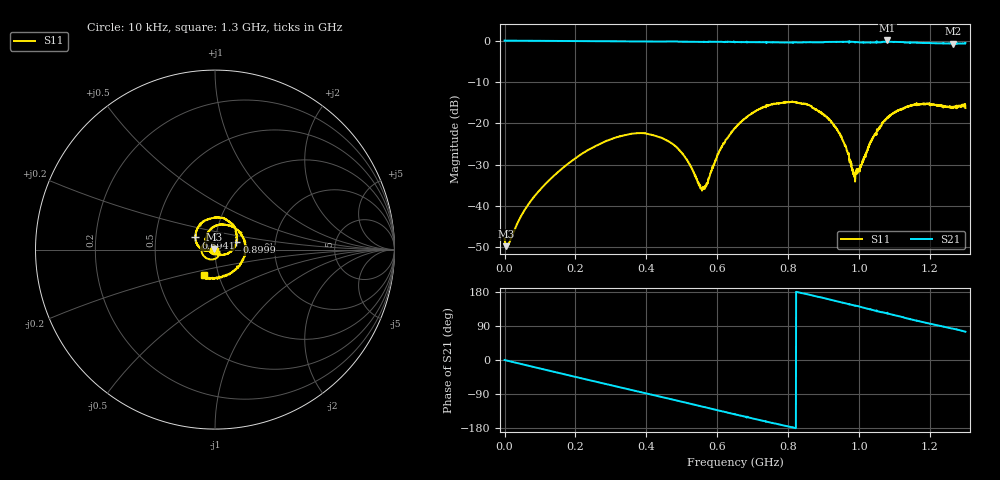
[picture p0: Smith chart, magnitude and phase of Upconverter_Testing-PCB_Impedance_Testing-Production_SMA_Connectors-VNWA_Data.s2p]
! ListType=Lin
# MHZ S DB R 50
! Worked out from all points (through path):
!   2048 points, 10 kHz to 1.3 GHz, reference 50 ohm
!   highest |S21| = 0.04 dB at 1.08 GHz (marker M1); lowest = -0.8 dB at 1.266 GHz (marker M2)
!   group delay of S21, straight-line fit = 608 ps
!   lowest |S11| = -49.8 dB at 5.091 MHz (marker M3), VSWR 1.01, Z = 49.7 + j0.16 ohm
!   |S11| at or under -10 dB: start of sweep to end of sweep
!   S12 and S22 are empty: the file has one direction only
!   S11 on the Smith chart (normalised r, x): 10 kHz: 0.99, +0.00; 694.1 MHz: 0.80, +0.11; 899.9 MHz: 1.27, +0.11; 1.3 GHz: 0.85, -0.25
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0.01  -47.85 179.7  0.00 -0.0  -3000.00 -90.0  -3000.00 -90.0
5.090567  -49.77 150.3  -0.01 -1.2  -3000.00 -90.0  -3000.00 -90.0
88.91992  -37.23 31.0  -0.05 -20.0  -3000.00 -90.0  -3000.00 -90.0
217.2042  -27.44 -65.8  -0.12 -48.4  -3000.00 -90.0  -3000.00 -90.0
341.6781  -22.83 -151.5  -0.20 -75.6  -3000.00 -90.0  -3000.00 -90.0
433.7634  -23.32 151.7  -0.23 -95.6  -3000.00 -90.0  -3000.00 -90.0
498.5406  -27.04 119.3  -0.26 -109.8  -3000.00 -90.0  -3000.00 -90.0
558.8723  -35.88 147.7  -0.32 -123.2  -3000.00 -90.0  -3000.00 -90.0
610.9481  -26.00 -172.4  -0.28 -134.8  -3000.00 -90.0  -3000.00 -90.0
650.3225  -21.19 171.9  -0.34 -143.7  -3000.00 -90.0  -3000.00 -90.0
694.1424  -17.81 148.3  -0.38 -152.8  -3000.00 -90.0  -3000.00 -90.0
790.6732  -14.88 89.0  -0.46 -173.5  -3000.00 -90.0  -3000.00 -90.0
866.8817  -16.09 42.5  -0.38 170.7  -3000.00 -90.0  -3000.00 -90.0
899.9054  -17.94 19.6  -0.42 163.7  -3000.00 -90.0  -3000.00 -90.0
944.9954  -22.34 -17.7  -0.30 153.3  -3000.00 -90.0  -3000.00 -90.0
988.8153  -34.12 -96.1  -0.47 142.8  -3000.00 -90.0  -3000.00 -90.0
1038.351  -23.52 140.5  -0.44 132.0  -3000.00 -90.0  -3000.00 -90.0
1079.63  -18.66 101.3  0.04 123.9  -3000.00 -90.0  -3000.00 -90.0
1083.441  -18.35 100.2  -0.29 122.1  -3000.00 -90.0  -3000.00 -90.0
1192.673  -15.21 5.7  -0.60 97.4  -3000.00 -90.0  -3000.00 -90.0
1265.706  -15.98 -71.6  -0.76 82.4  -3000.00 -90.0  -3000.00 -90.0
1300  -16.32 -113.1  -0.59 74.6  -3000.00 -90.0  -3000.00 -90.0
